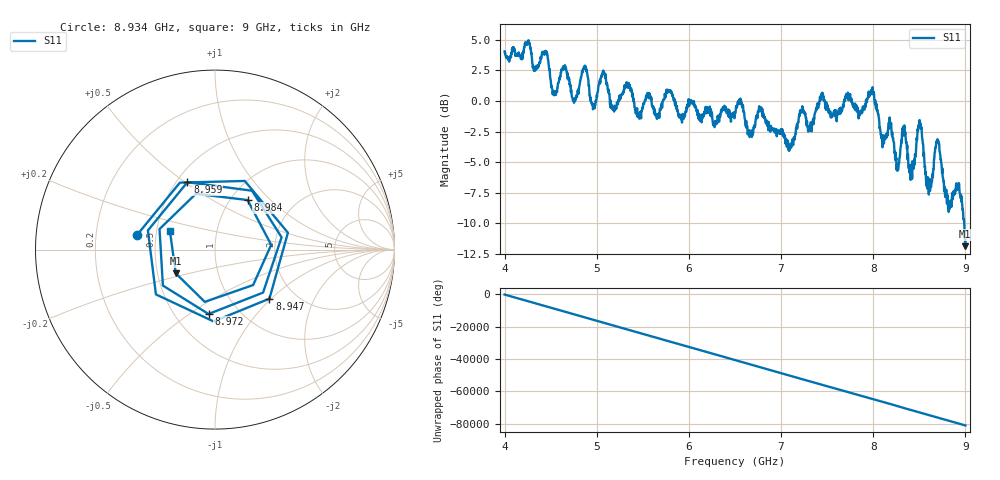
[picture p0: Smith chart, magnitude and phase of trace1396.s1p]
! Created with skrf 1.8.0 (http://scikit-rf.org).
# Hz S RI R 50.0
!freq ReS11 ImS11
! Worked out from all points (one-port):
!   1601 points, 4 GHz to 9 GHz, reference 50 ohm
!   lowest |S11| = -11.9 dB at 8.997 GHz (marker M1), VSWR 1.69, Z = 31.1 - j8.78 ohm
!   |S11| at or under -10 dB: 8.987493 GHz to end of sweep
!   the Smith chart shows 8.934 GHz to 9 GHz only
!   S11 on the Smith chart (normalised r, x): 8.934 GHz: 0.39, +0.08; 8.947 GHz: 1.49, -0.98; 8.959 GHz: 0.57, +0.51; 8.972 GHz: 0.72, -0.60; 8.984 GHz: 1.19, +0.74; 9 GHz: 0.59, +0.13
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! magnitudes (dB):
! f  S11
! 4 GHz  4.0
! 4.441 GHz  3.9
! 4.544 GHz  0.6
! 4.625 GHz  2.6
! 4.753 GHz  -0.1
! 4.866 GHz  2.6
! 4.959 GHz  -0.7
! 5.25 GHz  0.4
! 5.875 GHz  -0.8
! 6.5 GHz  -1.1
! 7.125 GHz  -3.4
! 7.222 GHz  -0.8
! 7.75 GHz  0.6
! 7.984 GHz  0.8
! 8.256 GHz  -5.2
! 8.328 GHz  -2.3
! 8.375 GHz  -4.4
! 8.506 GHz  -2.1
! 8.597 GHz  -7.0
! 8.697 GHz  -3.1
! 8.825 GHz  -8.9
! 8.934 GHz  -7.1
! 8.947 GHz  -7.8
! 8.959 GHz  -7.8
! 8.972 GHz  -8.9
! 8.984 GHz  -9.6
! 8.997 GHz  -11.9
! 9 GHz  -11.3
